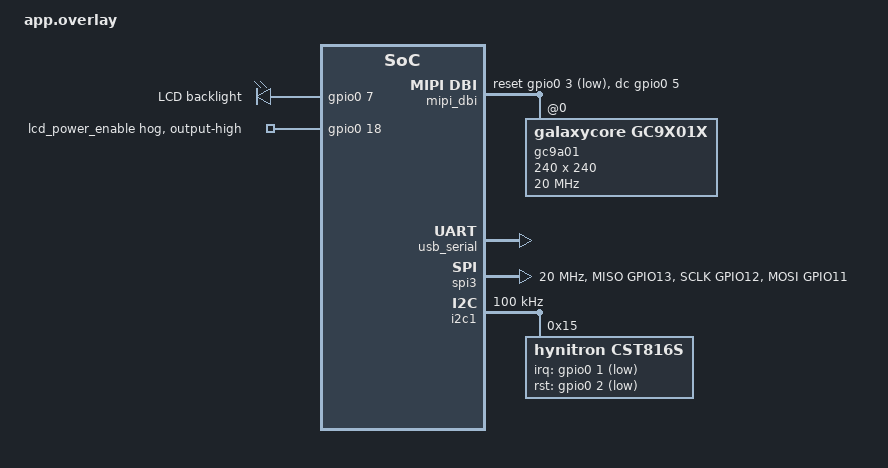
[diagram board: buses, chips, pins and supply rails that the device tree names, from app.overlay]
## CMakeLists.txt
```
cmake_minimum_required(VERSION 3.20.0)

set(BOARD esp32s3_devkitc/esp32s3/procpu CACHE STRING "Default Zephyr board")

find_package(Zephyr REQUIRED HINTS $ENV{ZEPHYR_BASE})
project(minimal_zephyr_app)

target_sources(app PRIVATE
    src/main.c
    src/panel.c
)
```

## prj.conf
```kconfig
CONFIG_CONSOLE=y
CONFIG_UART_CONSOLE=y
CONFIG_SERIAL=y
CONFIG_SERIAL_ESP32_USB=y
CONFIG_SHELL=y
CONFIG_SHELL_BACKEND_SERIAL=y
CONFIG_SHELL_PROMPT_UART="hacktor:~$ "
CONFIG_SHELL_STACK_SIZE=4096
CONFIG_GPIO=y
CONFIG_PRINTK=y
CONFIG_SPI=y
CONFIG_INPUT=y
CONFIG_DISPLAY=y
CONFIG_LOG=y
CONFIG_MAIN_STACK_SIZE=4096
CONFIG_LVGL=y
CONFIG_LV_Z_AUTO_INIT=n
CONFIG_LV_Z_MEM_POOL_SIZE=16384
CONFIG_LV_USE_LABEL=y
CONFIG_LV_FONT_MONTSERRAT_14=y
CONFIG_LV_FONT_MONTSERRAT_42=y
CONFIG_LV_FONT_DEFAULT_MONTSERRAT_42=y
CONFIG_BT=y
CONFIG_BT_PERIPHERAL=y
CONFIG_BT_DEVICE_NAME="ZEPHYR"
CONFIG_BT_DEVICE_APPEARANCE=0
CONFIG_BT_ZEPHYR_NUS=y
CONFIG_BT_MAX_CONN=1
CONFIG_BT_MAX_PAIRED=1
```

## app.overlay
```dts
#include <zephyr/dt-bindings/display/panel.h>
#include <zephyr/dt-bindings/gpio/gpio.h>
#include <zephyr/dt-bindings/i2c/i2c.h>
#include <zephyr/dt-bindings/pinctrl/esp-pinctrl-common.h>
#include <zephyr/dt-bindings/pinctrl/esp32s3-gpio-sigmap.h>
#include <zephyr/dt-bindings/pinctrl/esp32s3-pinctrl.h>

/ {
	chosen {
		zephyr,console = &usb_serial;
		zephyr,shell-uart = &usb_serial;
		zephyr,display = &gc9a01;
		zephyr,touch = &cst816s;
	};

	mipi_dbi {
		compatible = "zephyr,mipi-dbi-spi";
		spi-dev = <&spi3>;
		dc-gpios = <&gpio0 5 GPIO_ACTIVE_HIGH>;
		reset-gpios = <&gpio0 3 GPIO_ACTIVE_LOW>;
		write-only;
		#address-cells = <1>;
		#size-cells = <0>;

		gc9a01: gc9a01@0 {
			compatible = "galaxycore,gc9x01x";
			reg = <0>;
			status = "okay";
			zephyr,deferred-init;
			orientation = "180";
			mipi-max-frequency = <20000000>;
			mipi-mode = "MIPI_DBI_MODE_SPI_4WIRE";
			pixel-format = <PANEL_PIXEL_FORMAT_RGB_565>;
			width = <240>;
			height = <240>;
			display-inversion;
		};
	};

	leds {
		compatible = "gpio-leds";

		lcd_backlight: lcd_backlight {
			gpios = <&gpio0 7 GPIO_ACTIVE_HIGH>;
			label = "LCD backlight";
		};
	};
};

&usb_serial {
	status = "okay";
};

&gpio0 {
	lcd_power_enable {
		gpio-hog;
		gpios = <18 GPIO_ACTIVE_HIGH>;
		output-high;
	};
};

&pinctrl {
	/* LCD is wired to SPI3 on GPIO12/11/13. */
	spim3_lcd_default: spim3_lcd_default {
		group1 {
			pinmux = <SPIM3_MISO_GPIO13>, <SPIM3_SCLK_GPIO12>;
		};

		group2 {
			pinmux = <SPIM3_MOSI_GPIO11>;
			output-low;
		};
	};

	i2c1_touch_default: i2c1_touch_default {
		group1 {
			pinmux = <I2C1_SDA_GPIO8>, <I2C1_SCL_GPIO9>;
			bias-pull-up;
			drive-open-drain;
			output-high;
		};
	};
};

&spi3 {
	#address-cells = <1>;
	#size-cells = <0>;
	status = "okay";
	pinctrl-0 = <&spim3_lcd_default>;
	pinctrl-names = "default";
	clock-frequency = <20000000>;
	cs-gpios = <&gpio0 4 GPIO_ACTIVE_LOW>;
};

&i2c1 {
	status = "okay";
	clock-frequency = <I2C_BITRATE_STANDARD>;
	pinctrl-0 = <&i2c1_touch_default>;
	pinctrl-names = "default";

	cst816s: cst816s@15 {
		compatible = "hynitron,cst816s";
		reg = <0x15>;
		status = "okay";
		irq-gpios = <&gpio0 1 (GPIO_PULL_UP | GPIO_ACTIVE_LOW)>;
		rst-gpios = <&gpio0 2 GPIO_ACTIVE_LOW>;
	};
};
```

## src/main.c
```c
#include <string.h>

#include <zephyr/kernel.h>
#include <zephyr/device.h>
#include <zephyr/drivers/display.h>
#include <zephyr/drivers/gpio.h>
#include <zephyr/bluetooth/bluetooth.h>
#include <zephyr/bluetooth/services/nus.h>
#include <zephyr/sys/atomic.h>
#include <zephyr/sys/printk.h>

#include <lvgl.h>
#include <lvgl_zephyr.h>

#define DEVICE_NAME             "ZEPHYR"
#define DEVICE_NAME_LEN         (sizeof(DEVICE_NAME) - 1)

#define DISPLAY_NODE            DT_CHOSEN(zephyr_display)
#define BACKLIGHT_NODE          DT_NODELABEL(lcd_backlight)

#define RX_BUF_SIZE 256

static char rx_text[RX_BUF_SIZE] = "Waiting BLE message...";
static char assembled_text[RX_BUF_SIZE];
static size_t assembled_len;
static bool assembling;
static atomic_t rx_dirty;
static const struct bt_data ad[] = {
	BT_DATA_BYTES(BT_DATA_FLAGS, (BT_LE_AD_GENERAL | BT_LE_AD_NO_BREDR)),
	BT_DATA(BT_DATA_NAME_COMPLETE, DEVICE_NAME, DEVICE_NAME_LEN),
};
static const struct bt_data sd[] = {
	BT_DATA_BYTES(BT_DATA_UUID128_ALL, BT_UUID_NUS_SRV_VAL),
};
static const struct gpio_dt_spec lcd_backlight =
	GPIO_DT_SPEC_GET(BACKLIGHT_NODE, gpios);

/* ---------- UI state ---------- */

static lv_obj_t *title_label;
static lv_obj_t *status_label;
static lv_obj_t *rx_label;

static atomic_t rx_dirty;

/* ---------- Helpers ---------- */

static int init_display(const struct device **display_dev)
{
	const struct device *display = DEVICE_DT_GET(DISPLAY_NODE);
	int ret;

	if (!gpio_is_ready_dt(&lcd_backlight)) {
		printk("LCD backlight GPIO is not ready\n");
		return -ENODEV;
	}

	ret = gpio_pin_configure_dt(&lcd_backlight, GPIO_OUTPUT_ACTIVE);
	if (ret < 0) {
		printk("Backlight GPIO setup failed: %d\n", ret);
		return ret;
	}

	if (!device_is_ready(display)) {
		k_sleep(K_MSEC(250));
		ret = device_init(display);
		if (ret < 0) {
			printk("Display init failed: %d\n", ret);
			return ret;
		}
	}

	if (!device_is_ready(display)) {
		printk("Display device is not ready\n");
		return -ENODEV;
	}

	*display_dev = display;
	return 0;
}

static int init_ui(void)
{
	lv_obj_t *screen;

	screen = lv_screen_active();
	lv_obj_set_style_bg_color(screen, lv_color_hex(0x000000), 0);
	lv_obj_set_style_bg_opa(screen, LV_OPA_COVER, 0);

	title_label = lv_label_create(screen);
	lv_label_set_text(title_label, "STB");
	lv_obj_set_style_text_color(title_label, lv_color_hex(0xFFFFFF), 0);
	lv_obj_set_style_text_font(title_label, &lv_font_montserrat_42, 0);
	lv_obj_align(title_label, LV_ALIGN_TOP_MID, 0, 14);

	// status_label = lv_label_create(screen);
	// lv_label_set_text(status_label, "Waiting for phone...");
	// lv_obj_set_style_text_color(status_label, lv_color_hex(0x8CFFB5), 0);
	// lv_obj_set_style_text_font(status_label, &lv_font_montserrat_14, 0);
	// lv_obj_align(status_label, LV_ALIGN_TOP_MID, 0, 58);

	rx_label = lv_label_create(screen);
	lv_label_set_long_mode(rx_label, LV_LABEL_LONG_WRAP);
	lv_obj_set_width(rx_label, 210);
	lv_label_set_text(rx_label, rx_text);
	lv_obj_set_style_text_color(rx_label, lv_color_hex(0xFFD166), 0);
	lv_obj_set_style_text_font(rx_label, &lv_font_montserrat_14, 0);	
	lv_obj_align(rx_label, LV_ALIGN_CENTER, 0, 15);

	return 0;
}

static void update_rx_ui(void)
{
	if (!atomic_cas(&rx_dirty, 1, 0)) {
		return;
	}

	lv_label_set_text(rx_label, rx_text);
	// lv_label_set_text(status_label, "BLE message received");
}

/* ---------- BLE callbacks ---------- */

static void notif_enabled(bool enabled, void *ctx)
{
	ARG_UNUSED(ctx);

	printk("%s() - %s\n", __func__, enabled ? "Enabled" : "Disabled");

	atomic_set(&rx_dirty, 1);

	if (enabled) {
		// snprintk(rx_text, sizeof(rx_text), "Phone connected.\nNotifications ON.");
	} else {
		snprintk(rx_text, sizeof(rx_text), "Phone connected.\nNotifications OFF.");
	}
}

static void received(struct bt_conn *conn, const void *data, uint16_t len, void *ctx)
{
    const char *bytes = (const char *)data;

    ARG_UNUSED(conn);
    ARG_UNUSED(ctx);

    printk("%s() - Len: %d, Message: %.*s\n", __func__, len, len, bytes);

    for (uint16_t i = 0; i < len; i++) {
        char c = bytes[i];

        if (c == '*') {
            assembling = true;
            assembled_len = 0;
            memset(assembled_text, 0, sizeof(assembled_text));
            continue;
        }

        if (!assembling) {
            continue;
        }

        if (c == '#') {
            assembled_text[assembled_len] = '\0';

            size_t out = 0;
            for (size_t j = 0; j < assembled_len && out < sizeof(rx_text) - 1; j++) {
                rx_text[out++] = (assembled_text[j] == '|') ? '\n' : assembled_text[j];
            }
            rx_text[out] = '\0';

            assembling = false;
            atomic_set(&rx_dirty, 1);
            continue;
        }

        if (assembled_len < sizeof(assembled_text) - 1) {
            assembled_text[assembled_len++] = c;
        }
    }
}

static struct bt_nus_cb nus_listener = {
	.notif_enabled = notif_enabled,
	.received = received,
};

/* ---------- Main ---------- */

int main(void)
{
	const struct device *display;
	uint32_t sleep_ms;
	int err;

	printk("Hacktor BLE display demo\n");

	err = init_display(&display);
	if (err < 0) {
		return 0;
	}

	err = lvgl_init();
	if (err < 0) {
		printk("LVGL init failed: %d\n", err);
		return 0;
	}

	lvgl_lock();
	err = init_ui();
	if (err == 0) {
		lv_timer_handler();
	}
	lvgl_unlock();

	if (err < 0) {
		return 0;
	}

	err = display_blanking_off(display);
	if (err < 0 && err != -ENOSYS) {
		printk("Failed to enable display output: %d\n", err);
		return 0;
	}

	err = bt_nus_cb_register(&nus_listener, NULL);
	if (err) {
		printk("Failed to register NUS callback: %d\n", err);
		return 0;
	}

	err = bt_enable(NULL);
	if (err) {
		printk("Failed to enable bluetooth: %d\n", err);
		return 0;
	}

	err = bt_le_adv_start(BT_LE_ADV_CONN_FAST_1, ad, ARRAY_SIZE(ad), sd, ARRAY_SIZE(sd));
	if (err) {
		printk("Failed to start advertising: %d\n", err);
		return 0;
	}

	// printk("BLE advertising started\n");

	lvgl_lock();
	// lv_label_set_text(status_label, "Advertising BLE...");
	lv_timer_handler();
	lvgl_unlock();

	while (1) {
		static int tick;
		// const char *hello_world = "Hello World!\n";

		lvgl_lock();
		update_rx_ui();
		sleep_ms = lv_timer_handler();
		lvgl_unlock();

		// if (++tick >= 30) {
		// 	err = bt_nus_send(NULL, hello_world, strlen(hello_world));
		// 	printk("Data send - Result: %d\n", err);
		// 	tick = 0;
		// }

		if (sleep_ms == LV_NO_TIMER_READY || sleep_ms > 100U) {
			sleep_ms = 100U;
		}
		if (sleep_ms < 10U) {
			sleep_ms = 10U;
		}

		k_sleep(K_MSEC(sleep_ms));
	}

	return 0;
}
```

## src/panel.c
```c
#include "panel.h"

#include <zephyr/device.h>
#include <zephyr/drivers/display.h>
#include <zephyr/drivers/gpio.h>
#include <zephyr/input/input.h>
#include <zephyr/kernel.h>
#include <zephyr/shell/shell.h>
#include <zephyr/sys/atomic.h>
#include <zephyr/sys/printk.h>
#include <lvgl.h>
#include <lvgl_zephyr.h>

#define DISPLAY_NODE DT_CHOSEN(zephyr_display)
#define BACKLIGHT_NODE DT_NODELABEL(lcd_backlight)
#define TOUCH_NODE DT_CHOSEN(zephyr_touch)
#define DISPLAY_WIDTH DT_PROP(DISPLAY_NODE, width)
#define DISPLAY_HEIGHT DT_PROP(DISPLAY_NODE, height)
#define TOUCH_DOT_SIZE 18
#define TOUCH_DOT_COLOR_HEX 0x365AFF

static const struct gpio_dt_spec lcd_backlight = GPIO_DT_SPEC_GET(BACKLIGHT_NODE, gpios);
static const struct device *const touch_dev = DEVICE_DT_GET(TOUCH_NODE);

static atomic_t touch_x;
static atomic_t touch_y;
static atomic_t touch_pressed;
static atomic_t touch_dirty;

static struct display_capabilities display_cap = {
	.x_resolution = DISPLAY_WIDTH,
	.y_resolution = DISPLAY_HEIGHT,
	.current_orientation = DISPLAY_ORIENTATION_NORMAL,
};

static lv_obj_t *status_label;
static lv_obj_t *touch_dot;

static int clamp_coord(int value, int limit)
{
	if (value < 0) {
		return 0;
	}

	if (value > limit) {
		return limit;
	}

	return value;
}

static void transform_touch_point(int raw_x, int raw_y, int *screen_x, int *screen_y)
{
	switch (display_cap.current_orientation) {
	case DISPLAY_ORIENTATION_NORMAL:
		*screen_x = raw_x;
		*screen_y = raw_y;
		break;
	case DISPLAY_ORIENTATION_ROTATED_90:
		*screen_x = raw_y;
		*screen_y = display_cap.y_resolution - raw_x;
		break;
	case DISPLAY_ORIENTATION_ROTATED_180:
		*screen_x = display_cap.x_resolution - raw_x;
		*screen_y = display_cap.y_resolution - raw_y;
		break;
	case DISPLAY_ORIENTATION_ROTATED_270:
		*screen_x = display_cap.x_resolution - raw_y;
		*screen_y = raw_x;
		break;
	default:
		*screen_x = raw_x;
		*screen_y = raw_y;
		break;
	}

	*screen_x = clamp_coord(*screen_x, display_cap.x_resolution - 1);
	*screen_y = clamp_coord(*screen_y, display_cap.y_resolution - 1);
}

static void touch_event_callback(struct input_event *evt, void *user_data)
{
	ARG_UNUSED(user_data);

	switch (evt->code) {
	case INPUT_ABS_X:
		atomic_set(&touch_x, evt->value);
		break;
	case INPUT_ABS_Y:
		atomic_set(&touch_y, evt->value);
		break;
	case INPUT_BTN_TOUCH:
		atomic_set(&touch_pressed, evt->value);
		break;
	default:
		break;
	}

	if (evt->sync) {
		atomic_set(&touch_dirty, 1);
	}
}
INPUT_CALLBACK_DEFINE(touch_dev, touch_event_callback, NULL);

static void update_touch_ui(void)
{
	char text[32];
	int x;
	int y;
	int screen_x;
	int screen_y;
	bool pressed;

	if (!atomic_cas(&touch_dirty, 1, 0)) {
		return;
	}

	x = atomic_get(&touch_x);
	y = atomic_get(&touch_y);
	pressed = atomic_get(&touch_pressed) != 0;
	transform_touch_point(x, y, &screen_x, &screen_y);

	if (pressed) {
		lv_obj_clear_flag(touch_dot, LV_OBJ_FLAG_HIDDEN);
		lv_obj_set_pos(touch_dot,
			       clamp_coord(screen_x - TOUCH_DOT_SIZE / 2,
					   display_cap.x_resolution - TOUCH_DOT_SIZE),
			       clamp_coord(screen_y - TOUCH_DOT_SIZE / 2,
					   display_cap.y_resolution - TOUCH_DOT_SIZE));
		snprintk(text, sizeof(text), "Touch %d,%d", screen_x, screen_y);
		lv_label_set_text(status_label, text);
	} else {
		lv_obj_add_flag(touch_dot, LV_OBJ_FLAG_HIDDEN);
		lv_label_set_text(status_label, "Touch released");
	}
}

static int cmd_app_status(const struct shell *sh, size_t argc, char **argv)
{
	int raw_x;
	int raw_y;
	int screen_x;
	int screen_y;
	bool pressed;

	ARG_UNUSED(argc);
	ARG_UNUSED(argv);

	raw_x = atomic_get(&touch_x);
	raw_y = atomic_get(&touch_y);
	pressed = atomic_get(&touch_pressed) != 0;
	transform_touch_point(raw_x, raw_y, &screen_x, &screen_y);

	shell_print(sh, "display: %ux%u orientation=%u",
		    display_cap.x_resolution,
		    display_cap.y_resolution,
		    display_cap.current_orientation);
	shell_print(sh, "touch: %s raw=%d,%d screen=%d,%d",
		    pressed ? "pressed" : "released",
		    raw_x, raw_y, screen_x, screen_y);

	return 0;
}
SHELL_CMD_REGISTER(app, NULL, "Show current app and touch status", cmd_app_status);

static int init_display(const struct device **display_dev)
{
	const struct device *display = DEVICE_DT_GET(DISPLAY_NODE);
	int ret;

	if (!gpio_is_ready_dt(&lcd_backlight)) {
		printk("LCD backlight GPIO is not ready\n");
		return -ENODEV;
	}

	ret = gpio_pin_configure_dt(&lcd_backlight, GPIO_OUTPUT_ACTIVE);
	if (ret < 0) {
		printk("Backlight GPIO setup failed: %d\n", ret);
		return ret;
	}

	if (!device_is_ready(display)) {
		k_sleep(K_MSEC(250));
		ret = device_init(display);
		if (ret < 0) {
			printk("Display init failed: %d\n", ret);
			return ret;
		}
	}

	if (!device_is_ready(display)) {
		printk("Display device is not ready\n");
		return -ENODEV;
	}

	display_get_capabilities(display, &display_cap);

	*display_dev = display;
	return 0;
}

static int init_ui(void)
{
	lv_obj_t *screen;
	lv_obj_t *hello_label;

	screen = lv_screen_active();
	lv_obj_set_style_bg_color(screen, lv_color_hex(0x000000), 0);
	lv_obj_set_style_bg_opa(screen, LV_OPA_COVER, 0);

	hello_label = lv_label_create(screen);
	lv_label_set_text(hello_label, "Hello CC!");
	lv_obj_set_style_text_color(hello_label, lv_color_hex(0xFFFFFF), 0);
	lv_obj_set_style_text_font(hello_label, &lv_font_montserrat_42, 0);
	lv_obj_align(hello_label, LV_ALIGN_CENTER, 0, 0);

	status_label = lv_label_create(screen);
	lv_label_set_text(status_label, "Touch the screen");
	lv_obj_set_style_text_color(status_label, lv_color_hex(0x8CFFB5), 0);
	lv_obj_set_style_text_font(status_label, &lv_font_montserrat_14, 0);
	lv_obj_align(status_label, LV_ALIGN_BOTTOM_MID, 0, -14);

	touch_dot = lv_obj_create(screen);
	lv_obj_remove_style_all(touch_dot);
	lv_obj_set_size(touch_dot, TOUCH_DOT_SIZE, TOUCH_DOT_SIZE);
	lv_obj_set_style_radius(touch_dot, LV_RADIUS_CIRCLE, 0);
	/* This panel path swaps red/blue, so use a pre-swapped value to render orange. */
	lv_obj_set_style_bg_color(touch_dot, lv_color_hex(TOUCH_DOT_COLOR_HEX), 0);
	lv_obj_set_style_bg_opa(touch_dot, LV_OPA_COVER, 0);
	lv_obj_add_flag(touch_dot, LV_OBJ_FLAG_HIDDEN);

	return 0;
}

int panel_run(void)
{
	const struct device *display;
	uint32_t sleep_ms;
	int ret;

	if (!device_is_ready(touch_dev)) {
		printk("Touch device is not ready\n");
		return 0;
	}

	ret = init_display(&display);
	if (ret < 0) {
		return 0;
	}

	ret = lvgl_init();
	if (ret < 0) {
		printk("LVGL init failed: %d\n", ret);
		return 0;
	}

	lvgl_lock();
	ret = init_ui();
	if (ret == 0) {
		lv_timer_handler();
	}
	lvgl_unlock();

	if (ret < 0) {
		return 0;
	}

	ret = display_blanking_off(display);
	if (ret < 0 && ret != -ENOSYS) {
		printk("Failed to enable display output: %d\n", ret);
		return 0;
	}

	while (1) {
		lvgl_lock();
		update_touch_ui();
		sleep_ms = lv_timer_handler();
		lvgl_unlock();

		if (sleep_ms == LV_NO_TIMER_READY || sleep_ms > 100U) {
			sleep_ms = 100U;
		}
		if (sleep_ms < 10U) {
			sleep_ms = 10U;
		}

		k_sleep(K_MSEC(sleep_ms));
	}
}
```

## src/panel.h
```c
#ifndef PANEL_H_
#define PANEL_H_

int panel_run(void);

#endif /* PANEL_H_ */
```
